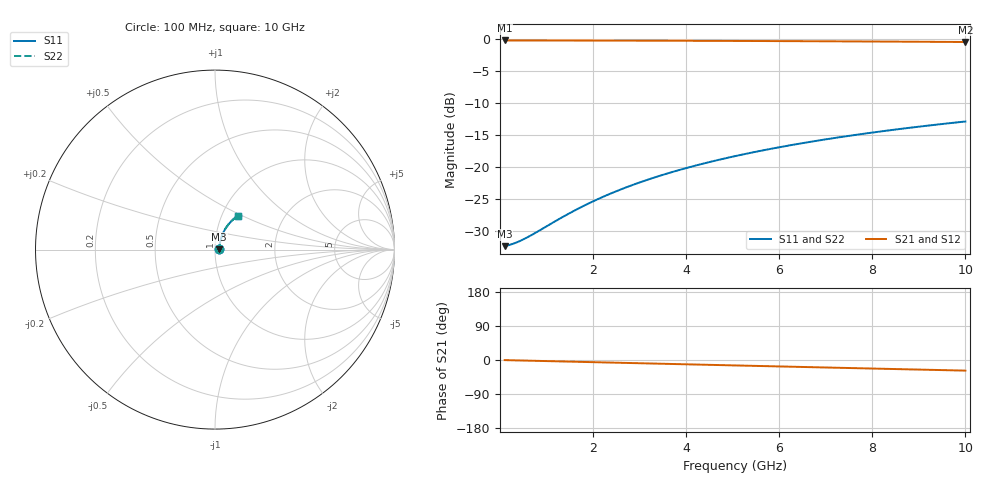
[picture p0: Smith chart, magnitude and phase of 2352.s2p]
# Hz S RI R 50.00
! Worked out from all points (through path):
!   100 points, 100 MHz to 10 GHz, reference 50 ohm
!   highest |S21| = -0.21 dB at 100 MHz (marker M1); lowest = -0.5 dB at 10 GHz (marker M2)
!   group delay of S21, straight-line fit = 7.79 ps
!   lowest |S11| = -32.4 dB at 100 MHz (marker M3), VSWR 1.05, Z = 52.4 + j0.239 ohm
!   |S11| at or under -10 dB: start of sweep to end of sweep
!   |S22| runs from -32.4 to -12.9 dB; largest |S21 - S12| = 0
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1e8  0.0239 0.00227  0.9761 -0.00486  0.9761 -0.00486  0.0239 0.00227
2e8  0.0241 0.00454  0.9759 -0.00971  0.9759 -0.00971  0.0241 0.00454
3e8  0.0242 0.00681  0.9757 -0.0146  0.9757 -0.0146  0.0242 0.00681
4e8  0.0244 0.00908  0.9755 -0.0194  0.9755 -0.0194  0.0244 0.00908
5e8  0.0246 0.0113  0.9753 -0.0243  0.9753 -0.0243  0.0246 0.0113
7e8  0.025 0.0159  0.9748 -0.0339  0.9748 -0.0339  0.025 0.0159
1.4e9  0.027 0.0316  0.9723 -0.0678  0.9723 -0.0678  0.027 0.0316
1.8e9  0.0285 0.0405  0.9703 -0.087  0.9703 -0.087  0.0285 0.0405
2.2e9  0.0305 0.0494  0.9679 -0.1062  0.9679 -0.1062  0.0305 0.0494
2.6e9  0.0327 0.0581  0.9649 -0.1253  0.9649 -0.1253  0.0327 0.0581
3e9  0.0353 0.0668  0.9616 -0.1443  0.9616 -0.1443  0.0353 0.0668
3.4e9  0.0382 0.0753  0.9578 -0.1631  0.9578 -0.1631  0.0382 0.0753
3.8e9  0.0415 0.0837  0.9536 -0.1818  0.9536 -0.1818  0.0415 0.0837
4.2e9  0.0451 0.092  0.9489 -0.2004  0.9489 -0.2004  0.0451 0.092
4.6e9  0.0489 0.1  0.9438 -0.2188  0.9438 -0.2188  0.0489 0.1
5.1e9  0.0542 0.1099  0.9369 -0.2416  0.9369 -0.2416  0.0542 0.1099
5.9e9  0.0636 0.125  0.9244 -0.2774  0.9244 -0.2774  0.0636 0.125
6.7e9  0.0742 0.1393  0.9104 -0.3123  0.9104 -0.3123  0.0742 0.1393
7.5e9  0.0857 0.1526  0.895 -0.3463  0.895 -0.3463  0.0857 0.1526
8.4e9  0.0998 0.1664  0.8759 -0.3833  0.8759 -0.3833  0.0998 0.1664
9.2e9  0.1132 0.1775  0.8577 -0.4151  0.8577 -0.4151  0.1132 0.1775
1e10  0.1273 0.1875  0.8382 -0.4457  0.8382 -0.4457  0.1273 0.1875
